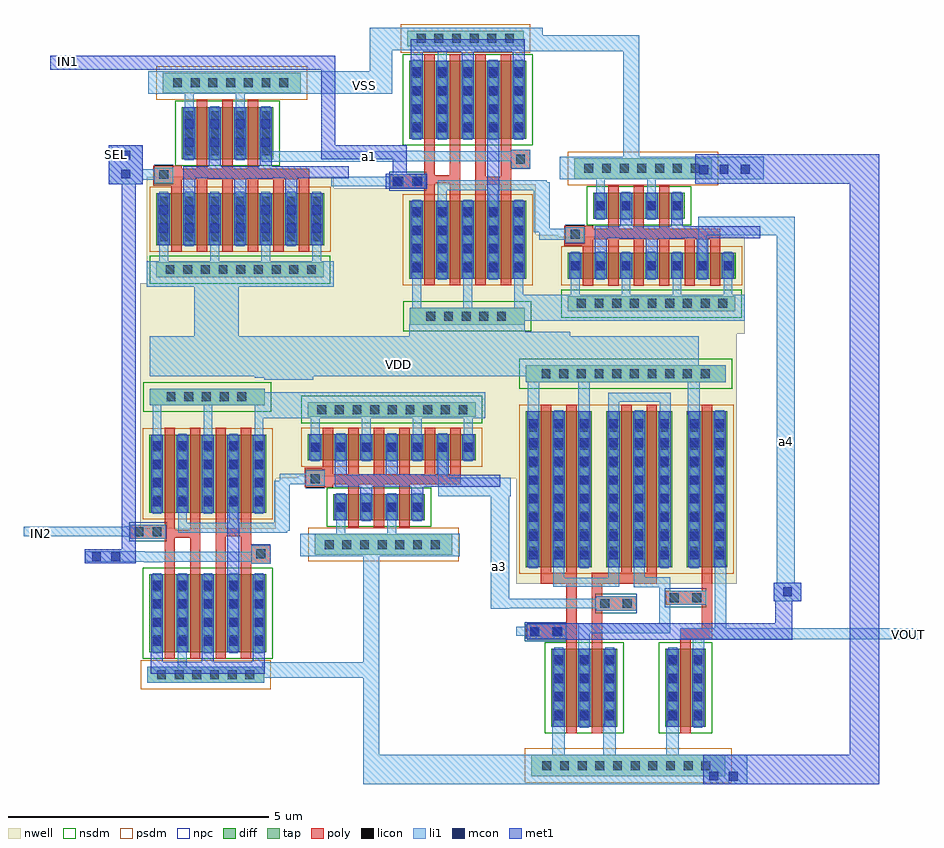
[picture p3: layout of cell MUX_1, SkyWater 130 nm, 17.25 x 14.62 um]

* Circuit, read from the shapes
.subckt MUX_1 IN1 IN2 SEL VDD VOUT VSS a1 a3 a4
XM1 VSS IN2 n1 VSS sky130_fd_pr__nfet_01v8 w=1.5 l=0.2 m=2
XM2 a1 SEL VSS VSS sky130_fd_pr__nfet_01v8 w=1 l=0.2 m=3
XM3 AND_1_3/inverter_2_1/VIN SEL n1 VSS sky130_fd_pr__nfet_01v8 w=1.5 l=0.2 m=2
XM4 a3 AND_1_3/inverter_2_1/VIN VSS VSS sky130_fd_pr__nfet_01v8 w=0.5 l=0.2 m=3
XM5 VSS IN1 n2 VSS sky130_fd_pr__nfet_01v8 w=1.5 l=0.2 m=2
XM6 AND_1_2/inverter_2_1/VIN a1 n2 VSS sky130_fd_pr__nfet_01v8 w=1.5 l=0.2 m=2
XM7 n3 a4 VSS VSS sky130_fd_pr__nfet_01v8 w=1.5 l=0.2
XM8 VSS a3 n3 VSS sky130_fd_pr__nfet_01v8 w=1.5 l=0.2
XM9 a4 AND_1_2/inverter_2_1/VIN VSS VSS sky130_fd_pr__nfet_01v8 w=0.5 l=0.2 m=3
XM10 VOUT n3 VSS VSS sky130_fd_pr__nfet_01v8 w=1.5 l=0.2
XM11 AND_1_3/inverter_2_1/VIN IN2 VDD VDD sky130_fd_pr__pfet_01v8 w=1.5 l=0.2 m=2
XM12 a1 SEL VDD VDD sky130_fd_pr__pfet_01v8 w=1 l=0.2 m=6
XM13 AND_1_3/inverter_2_1/VIN SEL VDD VDD sky130_fd_pr__pfet_01v8 w=1.5 l=0.2 m=2
XM14 a3 AND_1_3/inverter_2_1/VIN VDD VDD sky130_fd_pr__pfet_01v8 w=0.5 l=0.2 m=6
XM15 AND_1_2/inverter_2_1/VIN IN1 VDD VDD sky130_fd_pr__pfet_01v8 w=1.5 l=0.2 m=2
XM16 AND_1_2/inverter_2_1/VIN a1 VDD VDD sky130_fd_pr__pfet_01v8 w=1.5 l=0.2 m=2
XM17 n4 a4 VDD VDD sky130_fd_pr__pfet_01v8 w=3 l=0.2 m=2
XM18 a4 AND_1_2/inverter_2_1/VIN VDD VDD sky130_fd_pr__pfet_01v8 w=0.5 l=0.2 m=6
XM19 n3 a3 n4 VDD sky130_fd_pr__pfet_01v8 w=3 l=0.2 m=2
XM20 VOUT n3 VDD VDD sky130_fd_pr__pfet_01v8 w=3 l=0.2
.ends

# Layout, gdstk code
import gdstk
lib = gdstk.Library(unit=1e-6, precision=1e-09)
def R(c, l, rs):  # rectangles x0, y0, x1, y1
    for r in rs: c.add(gdstk.rectangle(r[:2], r[2:], *l))
def A(c, l, x, y, w, h, nx, ny, dx, dy):  # array of equal rectangles
    R(c, l, [(x+i*dx, y+j*dy, x+i*dx+w, y+j*dy+h) for i in range(nx) for j in range(ny)])
nwell = (64, 20)
diff = (65, 20)
tap = (65, 44)
poly = (66, 20)
licon = (66, 44)
li1 = (67, 20)
mcon = (67, 44)
met1 = (68, 20)
nsdm = (93, 44)
psdm = (94, 20)
npc = (95, 20)

sky130_fd_pr__pfet_01v8_ = lib.new_cell('sky130_fd_pr__pfet_01v8_6WH9DB')
R(sky130_fd_pr__pfet_01v8_, nwell, [(-0.57,-1.81,0.57,1.81)])
R(sky130_fd_pr__pfet_01v8_, diff, [(-0.39,-1.5,0.39,1.5)])
R(sky130_fd_pr__pfet_01v8_, poly, [(-0.1,-1.63,0.1,1.63)])
A(sky130_fd_pr__pfet_01v8_, licon, -0.33, -1.275, 0.17, 0.17, 1, 8, 0, 0.34)
A(sky130_fd_pr__pfet_01v8_, licon, 0.16, -1.275, 0.17, 0.17, 1, 8, 0, 0.34)
R(sky130_fd_pr__pfet_01v8_, li1, [(-0.33,-1.52,-0.16,1.52), (0.16,-1.52,0.33,1.52)])
A(sky130_fd_pr__pfet_01v8_, mcon, -0.33, -1.345, 0.17, 0.17, 1, 8, 0, 0.36)
A(sky130_fd_pr__pfet_01v8_, mcon, 0.16, -1.345, 0.17, 0.17, 1, 8, 0, 0.36)
R(sky130_fd_pr__pfet_01v8_, met1, [(-0.36,-1.5,-0.13,1.5), (0.13,-1.5,0.36,1.5)])
R(sky130_fd_pr__pfet_01v8_, psdm, [(-0.515,-1.625,0.515,1.625)])

sky130_fd_pr__nfet_01v8_ = lib.new_cell('sky130_fd_pr__nfet_01v8_FQGQPX')
R(sky130_fd_pr__nfet_01v8_, diff, [(-0.39,-0.75,0.39,0.75)])
R(sky130_fd_pr__nfet_01v8_, poly, [(-0.1,-0.88,0.1,0.88)])
A(sky130_fd_pr__nfet_01v8_, licon, -0.33, -0.595, 0.17, 0.17, 1, 4, 0, 0.34)
A(sky130_fd_pr__nfet_01v8_, licon, 0.16, -0.595, 0.17, 0.17, 1, 4, 0, 0.34)
R(sky130_fd_pr__nfet_01v8_, li1, [(-0.33,-0.77,-0.16,0.77), (0.16,-0.77,0.33,0.77)])
A(sky130_fd_pr__nfet_01v8_, mcon, -0.33, -0.625, 0.17, 0.17, 1, 4, 0, 0.36)
A(sky130_fd_pr__nfet_01v8_, mcon, 0.16, -0.625, 0.17, 0.17, 1, 4, 0, 0.36)
R(sky130_fd_pr__nfet_01v8_, met1, [(-0.36,-0.75,-0.13,0.75), (0.13,-0.75,0.36,0.75)])
R(sky130_fd_pr__nfet_01v8_, nsdm, [(-0.515,-0.875,0.515,0.875)])

or_magic = lib.new_cell('OR_MAGIC')
R(or_magic, nwell, [(-8.165,7.41,-7.475,7.615), (-6.88,10.66,-6.655,11.03), (-8.99,10.665,-8.765,11.03), (-10.18,11.03,-5.945,11.795)])
R(or_magic, tap, [(-9.895,3.705,-6.16,4.115), (-9.995,11.28,-6.15,11.61)])
R(or_magic, poly, [(-8.73,6.285,-8.53,6.89), (-9.22,6.29,-9.02,6.35), (-7.03,6.29,-6.825,6.35), (-9.995,6.35,-9.02,6.625), (-7.03,6.35,-6.415,6.55), (-6.615,6.55,-6.415,7), (-9.22,6.625,-9.02,7.41), (-8.73,6.89,-7.87,7.165), (-7.31,7,-6.415,7.275), (-8.73,7.165,-8.53,7.41), (-6.615,7.275,-6.415,7.66), (-9.71,7.41,-9.02,7.615), (-8.73,7.41,-7.475,7.615)])
A(or_magic, licon, -9.68, 3.82, 0.17, 0.17, 10, 1, 0.34, 0)
A(or_magic, licon, -9.695, 11.36, 0.17, 0.17, 10, 1, 0.34, 0)
R(or_magic, licon, [(-9.915,6.4,-9.745,6.57), (-9.485,6.4,-9.315,6.57), (-8.565,6.94,-8.395,7.11), (-8.135,6.94,-7.965,7.11), (-7.225,7.05,-7.055,7.22), (-6.795,7.05,-6.625,7.22)])
R(or_magic, li1, [(-9.895,3.705,-6.16,4.115), (-9.485,4.115,-9.25,4.71), (-8.505,4.115,-8.27,4.715), (-7.295,4.115,-7.06,4.765), (-8.99,6.1,-8.765,6.45), (-6.79,6.135,-6.57,6.335), (-6.79,6.335,-5.955,6.35), (-9.995,6.35,-9.22,6.41), (-7.03,6.35,-5.955,6.55), (-10.18,6.41,-9.22,6.58), (-8.99,6.45,-7.22,6.65), (-6.36,6.55,-6.145,7.77), (-9.995,6.58,-9.22,6.625), (-7.435,6.65,-7.22,7), (-8.645,6.89,-7.87,6.935), (-10.165,6.935,-7.87,7.115), (-7.435,7,-6.53,7.275), (-8.645,7.115,-7.87,7.165), (-7.435,7.275,-7.22,7.335), (-7.925,7.335,-7.22,7.53), (-9.47,7.345,-8.2,7.525), (-9.47,7.525,-9.26,7.82), (-8.41,7.525,-8.2,7.79), (-7.925,7.53,-7.715,7.8), (-9.965,10.65,-9.74,11.28), (-6.88,10.66,-6.655,11.28), (-8.99,10.665,-8.765,11.28), (-7.425,10.69,-7.215,10.91), (-8.415,10.7,-8.205,10.91), (-8.415,10.91,-7.215,11.08), (-9.995,11.28,-6.15,11.61)])
R(or_magic, nsdm, [(-10.12,11.155,-6.025,11.735)])
R(or_magic, psdm, [(-10.02,3.58,-6.035,4.24), (-8.605,7.595,-8.58,10.845), (-7.06,7.595,-7.03,10.845)])
R(or_magic, npc, [(-10.015,6.3,-9.215,6.67), (-8.665,6.84,-7.865,7.21), (-7.325,6.95,-6.525,7.32)])
or_magic.add(gdstk.Reference(sky130_fd_pr__pfet_01v8_, (-7.575,9.22)))
or_magic.add(gdstk.Reference(sky130_fd_pr__pfet_01v8_, (-9.61,9.22)))
or_magic.add(gdstk.Reference(sky130_fd_pr__pfet_01v8_, (-9.12,9.22)))
or_magic.add(gdstk.Reference(sky130_fd_pr__pfet_01v8_, (-8.065,9.22)))
or_magic.add(gdstk.Reference(sky130_fd_pr__pfet_01v8_, (-6.515,9.22)))
or_magic.add(gdstk.Reference(sky130_fd_pr__nfet_01v8_, (-8.63,5.41)))
or_magic.add(gdstk.Reference(sky130_fd_pr__nfet_01v8_, (-9.12,5.41)))
or_magic.add(gdstk.Reference(sky130_fd_pr__nfet_01v8_, (-6.93,5.41)))
or_magic.add(gdstk.Label('VDD', (-8.175,11.58), layer=67, texttype=5))
or_magic.add(gdstk.Label('VOUT', (-6.04,6.46), layer=67, texttype=5))
or_magic.add(gdstk.Label('A', (-10.125,7), layer=67, texttype=5))
or_magic.add(gdstk.Label('B', (-10.12,6.475), layer=67, texttype=5))
or_magic.add(gdstk.Label('VSS', (-8.175,3.74), layer=67, texttype=5))

c_sky130_fd_pr__pfet_01v8_ = lib.new_cell('sky130_fd_pr__pfet_01v8_ES6SDC')
R(c_sky130_fd_pr__pfet_01v8_, nwell, [(-0.57,-0.81,0.57,0.81)])
R(c_sky130_fd_pr__pfet_01v8_, diff, [(-0.39,-0.5,0.39,0.5)])
R(c_sky130_fd_pr__pfet_01v8_, poly, [(-0.1,-0.63,0.1,0.63)])
A(c_sky130_fd_pr__pfet_01v8_, licon, -0.33, -0.425, 0.17, 0.17, 1, 3, 0, 0.34)
A(c_sky130_fd_pr__pfet_01v8_, licon, 0.16, -0.425, 0.17, 0.17, 1, 3, 0, 0.34)
R(c_sky130_fd_pr__pfet_01v8_, li1, [(-0.33,-0.52,-0.16,0.52), (0.16,-0.52,0.33,0.52)])
R(c_sky130_fd_pr__pfet_01v8_, mcon, [(-0.33,-0.265,-0.16,-0.095), (0.16,-0.265,0.33,-0.095), (-0.33,0.095,-0.16,0.265), (0.16,0.095,0.33,0.265)])
R(c_sky130_fd_pr__pfet_01v8_, met1, [(-0.36,-0.5,-0.13,0.5), (0.13,-0.5,0.36,0.5)])
R(c_sky130_fd_pr__pfet_01v8_, psdm, [(-0.515,-0.625,0.515,0.625)])

c_sky130_fd_pr__nfet_01v8_ = lib.new_cell('sky130_fd_pr__nfet_01v8_JNEGCF')
R(c_sky130_fd_pr__nfet_01v8_, diff, [(-0.39,-0.5,0.39,0.5)])
R(c_sky130_fd_pr__nfet_01v8_, poly, [(-0.1,-0.63,0.1,0.63)])
A(c_sky130_fd_pr__nfet_01v8_, licon, -0.33, -0.425, 0.17, 0.17, 1, 3, 0, 0.34)
A(c_sky130_fd_pr__nfet_01v8_, licon, 0.16, -0.425, 0.17, 0.17, 1, 3, 0, 0.34)
R(c_sky130_fd_pr__nfet_01v8_, li1, [(-0.33,-0.52,-0.16,0.52), (0.16,-0.52,0.33,0.52)])
R(c_sky130_fd_pr__nfet_01v8_, mcon, [(-0.33,-0.265,-0.16,-0.095), (0.16,-0.265,0.33,-0.095), (-0.33,0.095,-0.16,0.265), (0.16,0.095,0.33,0.265)])
R(c_sky130_fd_pr__nfet_01v8_, met1, [(-0.36,-0.5,-0.13,0.5), (0.13,-0.5,0.36,0.5)])
R(c_sky130_fd_pr__nfet_01v8_, nsdm, [(-0.515,-0.625,0.515,0.625)])

inverter_1 = lib.new_cell('inverter_1')
R(inverter_1, nwell, [(0.14,0.12,0.505,0.15), (0.24,1.33,0.41,1.62), (1.22,1.33,1.39,1.62), (3.18,1.33,3.35,1.62), (0,1.62,3.59,2.115)])
R(inverter_1, tap, [(0.31,-2.005,2.955,-1.61), (0.18,1.645,3.405,1.93)])
A(inverter_1, poly, 0.96, 0.045, 0.2, 0.14, 4, 1, 0.49, 0)
R(inverter_1, poly, [(0.96,-0.215,1.16,-0.155), (0.12,-0.21,0.67,-0.155), (1.45,-0.21,1.65,-0.155), (1.94,-0.21,2.14,-0.155), (0.12,-0.155,3.12,0.045), (0.12,0.045,0.67,0.17), (2.92,0.045,3.12,0.19), (0.47,0.17,0.67,0.24)])
A(inverter_1, licon, 0.505, -1.895, 0.17, 0.17, 7, 1, 0.34, 0)
A(inverter_1, licon, 0.36, 1.695, 0.17, 0.17, 9, 1, 0.34, 0)
R(inverter_1, licon, [(0.24,-0.13,0.41,0.04)])
A(inverter_1, li1, 0.24, 1.33, 0.17, 0.29, 4, 1, 0.98, 0)
R(inverter_1, li1, [(0.03,-2.03,3.105,-1.6), (0.73,-1.6,0.9,-1.31), (1.71,-1.6,1.88,-1.31), (0.14,-0.18,0.505,-0.15), (-0.36,-0.15,0.505,0.055), (0.14,0.055,0.505,0.12), (0,1.62,3.59,2.115)])
R(inverter_1, met1, [(1.19,-0.345,1.42,-0.2), (2.17,-0.34,2.4,-0.2), (0.7,-0.2,3.885,0.03), (0.7,0.03,0.93,0.31), (1.19,0.03,2.4,0.04), (2.66,0.03,2.89,0.31), (1.68,0.04,1.91,0.31)])
R(inverter_1, nsdm, [(0.055,1.52,3.53,2.055)])
R(inverter_1, psdm, [(0.185,-2.13,3.08,-1.485)])
R(inverter_1, npc, [(0.14,-0.23,0.51,0.14)])
inverter_1.add(gdstk.Reference(c_sky130_fd_pr__pfet_01v8_, (2.53,0.81)))
inverter_1.add(gdstk.Reference(c_sky130_fd_pr__pfet_01v8_, (2.04,0.81)))
inverter_1.add(gdstk.Reference(c_sky130_fd_pr__pfet_01v8_, (1.55,0.81)))
inverter_1.add(gdstk.Reference(c_sky130_fd_pr__pfet_01v8_, (3.02,0.81)))
inverter_1.add(gdstk.Reference(c_sky130_fd_pr__pfet_01v8_, (0.57,0.81)))
inverter_1.add(gdstk.Reference(c_sky130_fd_pr__pfet_01v8_, (1.06,0.81)))
inverter_1.add(gdstk.Reference(c_sky130_fd_pr__nfet_01v8_, (1.55,-0.84)))
inverter_1.add(gdstk.Reference(c_sky130_fd_pr__nfet_01v8_, (1.06,-0.84)))
inverter_1.add(gdstk.Reference(c_sky130_fd_pr__nfet_01v8_, (2.04,-0.84)))
inverter_1.add(gdstk.Label('VOUT', (3.755,-0.13), layer=68, texttype=5))
inverter_1.add(gdstk.Label('VDD', (1.76,1.8), layer=67, texttype=5))
inverter_1.add(gdstk.Label('VSS', (1.585,-1.82), layer=67, texttype=5))
inverter_1.add(gdstk.Label('VIN', (-0.17,-0.08), layer=67, texttype=5))

c_sky130_fd_pr__pfet_01v8__ = lib.new_cell('sky130_fd_pr__pfet_01v8_WNFSTC')
R(c_sky130_fd_pr__pfet_01v8__, nwell, [(-0.57,-1.06,0.57,1.06)])
R(c_sky130_fd_pr__pfet_01v8__, diff, [(-0.39,-0.75,0.39,0.75)])
R(c_sky130_fd_pr__pfet_01v8__, poly, [(-0.1,-0.88,0.1,0.88)])
A(c_sky130_fd_pr__pfet_01v8__, licon, -0.33, -0.595, 0.17, 0.17, 1, 4, 0, 0.34)
A(c_sky130_fd_pr__pfet_01v8__, licon, 0.16, -0.595, 0.17, 0.17, 1, 4, 0, 0.34)
R(c_sky130_fd_pr__pfet_01v8__, li1, [(-0.33,-0.77,-0.16,0.77), (0.16,-0.77,0.33,0.77)])
A(c_sky130_fd_pr__pfet_01v8__, mcon, -0.33, -0.625, 0.17, 0.17, 1, 4, 0, 0.36)
A(c_sky130_fd_pr__pfet_01v8__, mcon, 0.16, -0.625, 0.17, 0.17, 1, 4, 0, 0.36)
R(c_sky130_fd_pr__pfet_01v8__, met1, [(-0.36,-0.75,-0.13,0.75), (0.13,-0.75,0.36,0.75)])
R(c_sky130_fd_pr__pfet_01v8__, psdm, [(-0.515,-0.875,0.515,0.875)])

nand_magic_1 = lib.new_cell('NAND_MAGIC_1')
R(nand_magic_1, nwell, [(0.06,2.075,1.69,2.08), (0.06,2.08,2.67,2.835)])
R(nand_magic_1, tap, [(0.2,-3,2.445,-2.695), (0.25,2.335,2.46,2.655)])
R(nand_magic_1, poly, [(0.53,-0.87,0.73,-0.235), (1.02,-0.785,1.22,-0.215), (1.51,-0.785,1.71,-0.19), (2,-0.785,2.2,-0.71), (2,-0.71,2.57,-0.355), (2,-0.355,2.2,-0.19), (-0.125,-0.235,0.73,-0.215), (-0.125,-0.215,1.22,-0.065), (1.51,-0.19,2.2,-0.03), (-0.125,-0.065,0.73,0.035), (1.02,-0.065,1.22,0.14), (1.51,-0.03,1.71,0.14), (2,-0.03,2.2,0.14), (0.53,0.035,0.73,0.14)])
A(nand_magic_1, licon, 0.385, -2.935, 0.17, 0.17, 6, 1, 0.34, 0)
A(nand_magic_1, licon, 0.57, 2.41, 0.17, 0.17, 5, 1, 0.34, 0)
R(nand_magic_1, licon, [(2.295,-0.61,2.465,-0.44), (-0.045,-0.185,0.125,-0.015), (0.3,-0.185,0.47,-0.015)])
A(nand_magic_1, li1, 0.3, 1.77, 0.17, 0.565, 3, 1, 0.98, 0)
R(nand_magic_1, li1, [(0.2,-3,2.445,-2.695), (0.785,-2.695,0.96,-2.435), (2.2,-0.71,2.57,-0.68), (0.14,-0.685,0.495,-0.68), (0.14,-0.68,2.57,-0.485), (2.2,-0.485,2.57,-0.355), (-0.125,-0.235,0.55,-0.195), (-0.225,-0.195,0.55,0.005), (0.79,-0.12,2.885,0.07), (-0.125,0.005,0.55,0.035), (0.79,0.07,0.96,0.285), (1.77,0.07,1.94,0.255), (0.25,2.335,2.46,2.655)])
R(nand_magic_1, met1, [(0.265,-2.83,2.46,-2.595), (0.265,-2.595,0.5,-2.41), (1.25,-2.595,1.48,-2.41), (2.23,-2.595,2.46,-2.415), (1.74,-0.915,1.97,0.275)])
R(nand_magic_1, nsdm, [(0.125,2.21,2.585,2.78)])
R(nand_magic_1, psdm, [(0.075,-3.125,2.57,-2.57)])
R(nand_magic_1, npc, [(2.195,-0.71,2.565,-0.34), (-0.145,-0.285,0.57,0.085)])
nand_magic_1.add(gdstk.Reference(c_sky130_fd_pr__pfet_01v8__, (2.1,1.02)))
nand_magic_1.add(gdstk.Reference(c_sky130_fd_pr__pfet_01v8__, (1.12,1.02)))
nand_magic_1.add(gdstk.Reference(c_sky130_fd_pr__pfet_01v8__, (1.61,1.02)))
nand_magic_1.add(gdstk.Reference(c_sky130_fd_pr__pfet_01v8__, (0.63,1.02)))
nand_magic_1.add(gdstk.Reference(sky130_fd_pr__nfet_01v8_, (1.61,-1.665)))
nand_magic_1.add(gdstk.Reference(sky130_fd_pr__nfet_01v8_, (2.1,-1.665)))
nand_magic_1.add(gdstk.Reference(sky130_fd_pr__nfet_01v8_, (0.63,-1.665)))
nand_magic_1.add(gdstk.Reference(sky130_fd_pr__nfet_01v8_, (1.12,-1.665)))
nand_magic_1.add(gdstk.Label('VDD', (1.265,2.61), layer=67, texttype=5))
nand_magic_1.add(gdstk.Label('B', (-0.19,-0.095), layer=67, texttype=5))
nand_magic_1.add(gdstk.Label('VSS', (1.38,-2.85), layer=67, texttype=5))
nand_magic_1.add(gdstk.Label('VOUT', (2.855,-0.065), layer=67, texttype=5))

c_sky130_fd_pr__pfet_01v8___ = lib.new_cell('sky130_fd_pr__pfet_01v8_WN25TG')
R(c_sky130_fd_pr__pfet_01v8___, nwell, [(-0.57,-0.56,0.57,0.56)])
R(c_sky130_fd_pr__pfet_01v8___, diff, [(-0.39,-0.25,0.39,0.25)])
R(c_sky130_fd_pr__pfet_01v8___, poly, [(-0.1,-0.38,0.1,0.38)])
R(c_sky130_fd_pr__pfet_01v8___, licon, [(-0.33,-0.085,-0.16,0.085), (0.16,-0.085,0.33,0.085)])
R(c_sky130_fd_pr__pfet_01v8___, li1, [(-0.33,-0.27,-0.16,0.27), (0.16,-0.27,0.33,0.27)])
R(c_sky130_fd_pr__pfet_01v8___, mcon, [(-0.33,-0.085,-0.16,0.085), (0.16,-0.085,0.33,0.085)])
R(c_sky130_fd_pr__pfet_01v8___, met1, [(-0.36,-0.25,-0.13,0.25), (0.13,-0.25,0.36,0.25)])
R(c_sky130_fd_pr__pfet_01v8___, psdm, [(-0.515,-0.375,0.515,0.375)])

c_sky130_fd_pr__nfet_01v8__ = lib.new_cell('sky130_fd_pr__nfet_01v8_62GQ7J')
R(c_sky130_fd_pr__nfet_01v8__, diff, [(-0.39,-0.25,0.39,0.25)])
R(c_sky130_fd_pr__nfet_01v8__, poly, [(-0.1,-0.38,0.1,0.38)])
R(c_sky130_fd_pr__nfet_01v8__, licon, [(-0.33,-0.085,-0.16,0.085), (0.16,-0.085,0.33,0.085)])
R(c_sky130_fd_pr__nfet_01v8__, li1, [(-0.33,-0.27,-0.16,0.27), (0.16,-0.27,0.33,0.27)])
R(c_sky130_fd_pr__nfet_01v8__, mcon, [(-0.33,-0.085,-0.16,0.085), (0.16,-0.085,0.33,0.085)])
R(c_sky130_fd_pr__nfet_01v8__, met1, [(-0.36,-0.25,-0.13,0.25), (0.13,-0.25,0.36,0.25)])
R(c_sky130_fd_pr__nfet_01v8__, nsdm, [(-0.515,-0.375,0.515,0.375)])

inverter_2 = lib.new_cell('inverter_2')
R(inverter_2, nwell, [(0.14,0.12,0.505,0.15), (0.24,0.83,0.41,1.12), (1.22,0.83,1.39,1.12), (3.18,0.83,3.35,1.12), (0,1.12,3.59,1.615)])
R(inverter_2, tap, [(0.31,-1.51,2.955,-1.115), (0.18,1.145,3.405,1.43)])
A(inverter_2, poly, 0.96, -0.215, 0.2, 0.06, 3, 1, 0.49, 0)
A(inverter_2, poly, 0.96, 0.045, 0.2, 0.14, 4, 1, 0.49, 0)
R(inverter_2, poly, [(0.12,-0.21,0.67,-0.155), (0.12,-0.155,3.12,0.045), (0.12,0.045,0.67,0.17), (2.92,0.045,3.12,0.19), (0.47,0.17,0.67,0.24)])
A(inverter_2, licon, 0.505, -1.4, 0.17, 0.17, 7, 1, 0.34, 0)
A(inverter_2, licon, 0.36, 1.195, 0.17, 0.17, 9, 1, 0.34, 0)
R(inverter_2, licon, [(0.24,-0.13,0.41,0.04)])
A(inverter_2, li1, 0.24, 0.83, 0.17, 0.29, 4, 1, 0.98, 0)
R(inverter_2, li1, [(0.03,-1.535,3.105,-1.105), (0.73,-1.105,0.9,-0.815), (1.71,-1.105,1.88,-0.815), (0.14,-0.18,0.505,-0.15), (-0.36,-0.15,0.505,0.055), (0.14,0.055,0.505,0.12), (0,1.12,3.59,1.615)])
R(inverter_2, met1, [(1.19,-0.345,1.42,-0.2), (2.17,-0.345,2.4,-0.2), (0.7,-0.2,3.885,0.03), (0.7,0.03,0.93,0.31), (1.19,0.03,2.4,0.04), (2.66,0.03,2.89,0.31), (1.68,0.04,1.91,0.31)])
R(inverter_2, nsdm, [(0.055,1.02,3.53,1.555)])
R(inverter_2, psdm, [(0.185,-1.635,3.08,-0.99)])
R(inverter_2, npc, [(0.14,-0.23,0.51,0.14)])
inverter_2.add(gdstk.Reference(c_sky130_fd_pr__pfet_01v8___, (3.02,0.56)))
inverter_2.add(gdstk.Reference(c_sky130_fd_pr__pfet_01v8___, (2.53,0.56)))
inverter_2.add(gdstk.Reference(c_sky130_fd_pr__pfet_01v8___, (1.06,0.56)))
inverter_2.add(gdstk.Reference(c_sky130_fd_pr__pfet_01v8___, (1.55,0.56)))
inverter_2.add(gdstk.Reference(c_sky130_fd_pr__pfet_01v8___, (2.04,0.56)))
inverter_2.add(gdstk.Reference(c_sky130_fd_pr__pfet_01v8___, (0.57,0.56)))
inverter_2.add(gdstk.Reference(c_sky130_fd_pr__nfet_01v8__, (2.04,-0.595)))
inverter_2.add(gdstk.Reference(c_sky130_fd_pr__nfet_01v8__, (1.55,-0.595)))
inverter_2.add(gdstk.Reference(c_sky130_fd_pr__nfet_01v8__, (1.06,-0.595)))
inverter_2.add(gdstk.Label('VOUT', (3.755,-0.13), layer=68, texttype=5))
inverter_2.add(gdstk.Label('VDD', (1.76,1.3), layer=67, texttype=5))
inverter_2.add(gdstk.Label('VSS', (1.585,-1.325), layer=67, texttype=5))
inverter_2.add(gdstk.Label('VIN', (-0.17,-0.08), layer=67, texttype=5))

and_1 = lib.new_cell('AND_1')
R(and_1, nwell, [(2.91,3.955,3.345,5.11), (2.665,5.11,3.355,5.205), (2.665,5.205,4.285,5.605), (2.91,5.605,6.935,5.86)])
R(and_1, li1, [(2.65,0.115,4.9,0.42), (4.595,0.42,4.9,2.59), (-0.75,2.35,0.385,2.55), (-1.02,2.84,0.195,3.02), (2.875,2.945,3.18,3.905), (6.035,3.61,7.425,3.96), (6.035,3.96,6.205,4.285), (2.665,5.11,3.355,5.605)])
and_1.add(gdstk.Reference(nand_magic_1, (0.24,3.025)))
and_1.add(gdstk.Reference(inverter_2, (3.345,3.99)))
and_1.add(gdstk.Label('A', (-0.49,2.41), layer=67, texttype=5))
and_1.add(gdstk.Label('B', (-0.78,2.915), layer=67, texttype=5))
and_1.add(gdstk.Label('VOUT', (6.995,3.73), layer=67, texttype=5))
and_1.add(gdstk.Label('VSS', (3.435,0.2), layer=67, texttype=5))
and_1.add(gdstk.Label('VDD', (2.9,5.465), layer=67, texttype=5))

mux_1 = lib.new_cell('MUX_1')
R(mux_1, nwell, [(7.945,3.955,9.085,5.785), (4.735,5.785,9.085,5.86), (1.8,5.86,9.085,6.15), (1.8,6.15,10.62,6.215), (1.8,6.215,12.94,6.29), (1.8,6.29,13.27,6.735), (1.8,6.735,10.62,6.97), (1.8,6.97,6.865,7.02), (1.8,7.02,6.795,7.7), (2.84,7.7,3.7,8.16), (4.985,7.7,6.795,9.53)])
R(mux_1, poly, [(6.61,9.535,7.25,9.775)])
R(mux_1, li1, [(6.095,-1.925,13.48,-1.36), (6.095,-1.36,6.4,0.495), (13.045,0.855,16.805,1.07), (9.245,0.87,9.535,1.14), (9.725,0.9,9.935,1.105), (8.545,1.445,8.895,1.455), (8.545,1.455,9.78,1.635), (13.985,1.585,14.51,1.945), (8.545,1.635,8.895,3.96), (14.04,1.945,14.39,8.63), (0.75,2.35,1.87,2.55), (-0.44,2.84,0.535,3.02), (0.56,2.84,1.02,3.02), (4.185,5.85,5.13,5.885), (4,5.885,5.13,5.92), (1.99,5.92,12.545,6.685), (2.84,6.685,3.7,7.735), (6.98,6.685,10.07,6.77), (6.98,6.77,9.195,6.915), (13.57,8.63,14.39,8.98), (6.61,9.53,7.25,9.57), (5.585,9.57,7.25,9.75), (1.2,9.61,1.85,10.36), (12.475,9.705,13.795,10.135), (6.61,9.75,7.25,9.775), (4.135,10.04,6.45,10.24), (5.03,11.35,6.65,11.78), (6.22,11.78,6.65,12.185), (6.22,12.185,9.545,12.615)])
R(mux_1, mcon, [(13.12,-1.86,13.29,-1.69), (12.745,-1.855,12.915,-1.685), (9.745,0.915,9.915,1.085), (9.305,0.92,9.475,1.09), (14.165,1.69,14.335,1.86), (0.875,2.36,1.045,2.53), (1.245,2.36,1.415,2.53), (6.66,9.57,6.83,9.74), (7.06,9.575,7.23,9.745), (1.44,9.72,1.61,9.89), (12.555,9.805,12.725,9.975), (12.945,9.81,13.115,9.98), (13.355,9.815,13.525,9.985), (1.44,10.08,1.61,10.25)])
R(mux_1, met1, [(12.63,-1.925,16.015,-1.36), (15.45,-1.36,16.015,9.62), (9.24,0.845,14.34,1.17), (14.015,1.17,14.34,1.585), (13.985,1.585,14.51,1.945), (0.735,2.32,1.72,2.59), (1.45,2.59,1.72,9.61), (6.525,9.525,7.32,9.815), (1.2,9.61,1.85,10.36), (12.475,9.62,16.015,10.185), (6.655,9.815,6.925,10.09), (5.285,10.09,6.925,10.36), (5.285,10.36,5.555,11.81), (0.07,11.81,5.555,12.08)])
mux_1.add(gdstk.Reference(or_magic, (19.215,-5.48)))
mux_1.add(gdstk.Reference(inverter_1, (1.93,9.75), x_reflection=True))
mux_1.add(gdstk.Reference(and_1, (6.495,12.59), x_reflection=True))
mux_1.add(gdstk.Reference(and_1, (1.5,0)))
mux_1.add(gdstk.Label('a4', (14.23,4.67), layer=67, texttype=5))
mux_1.add(gdstk.Label('a3', (8.72,2.25), layer=67, texttype=5))
mux_1.add(gdstk.Label('a1', (6.21,10.14), layer=67, texttype=5))
mux_1.add(gdstk.Label('SEL', (1.35,10.19), layer=68, texttype=5))
mux_1.add(gdstk.Label('VDD', (6.76,6.14), layer=67, texttype=5))
mux_1.add(gdstk.Label('VOUT', (16.585,0.945), layer=67, texttype=5))
mux_1.add(gdstk.Label('IN2', (-0.09,2.9), layer=67, texttype=5))
mux_1.add(gdstk.Label('IN1', (0.42,11.96), layer=68, texttype=5))
mux_1.add(gdstk.Label('VSS', (6.11,11.51), layer=67, texttype=5))

lib.write_gds('MUX_1.gds')
